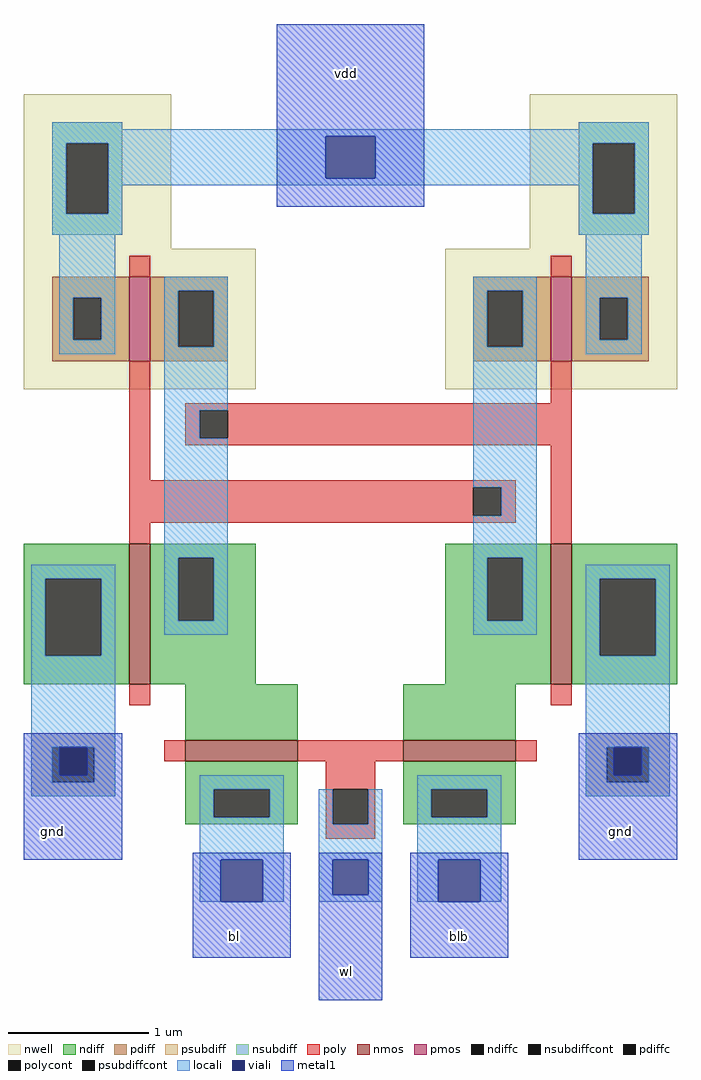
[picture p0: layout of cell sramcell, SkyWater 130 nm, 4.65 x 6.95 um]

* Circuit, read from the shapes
.subckt sramcell bl blb gnd vdd wl
XM1 n1 n2 gnd gnd sky130_fd_pr__nfet_01v8 w=1 l=0.15
XM2 n1 wl bl gnd sky130_fd_pr__nfet_01v8 w=0.8 l=0.15
XM3 n2 wl blb gnd sky130_fd_pr__nfet_01v8 w=0.8 l=0.15
XM4 gnd n1 n2 gnd sky130_fd_pr__nfet_01v8 w=1 l=0.15
XM5 n1 n2 vdd vdd sky130_fd_pr__pfet_01v8 w=0.6 l=0.15
XM6 vdd n1 n2 vdd sky130_fd_pr__pfet_01v8 w=0.6 l=0.15
.ends

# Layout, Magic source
magic
tech sky130A
<< nwell >>
rect -35 200 70 310
rect 325 200 430 310
rect -35 100 130 200
rect 265 100 430 200
<< nmos >>
rect 40 -110 55 -10
rect 340 -110 355 -10
rect 80 -165 160 -150
rect 235 -165 315 -150
<< pmos >>
rect 40 120 55 180
rect 340 120 355 180
<< ndiff >>
rect -35 -35 40 -10
rect -35 -90 -20 -35
rect 20 -90 40 -35
rect -35 -110 40 -90
rect 55 -20 130 -10
rect 55 -65 75 -20
rect 100 -65 130 -20
rect 55 -110 130 -65
rect 265 -20 340 -10
rect 265 -65 295 -20
rect 320 -65 340 -20
rect 265 -110 340 -65
rect 355 -35 430 -10
rect 355 -90 375 -35
rect 415 -90 430 -35
rect 355 -110 430 -90
rect 80 -150 160 -110
rect 235 -150 315 -110
rect 80 -185 160 -165
rect 80 -205 100 -185
rect 140 -205 160 -185
rect 80 -210 160 -205
rect 235 -185 315 -165
rect 235 -205 255 -185
rect 295 -205 315 -185
rect 235 -210 315 -205
<< pdiff >>
rect -15 165 40 180
rect -15 135 0 165
rect 20 135 40 165
rect -15 120 40 135
rect 55 170 110 180
rect 55 130 75 170
rect 100 130 110 170
rect 55 120 110 130
rect 285 170 340 180
rect 285 130 295 170
rect 320 130 340 170
rect 285 120 340 130
rect 355 165 410 180
rect 355 135 375 165
rect 395 135 410 165
rect 355 120 410 135
<< ndiffc >>
rect -20 -90 20 -35
rect 75 -65 100 -20
rect 295 -65 320 -20
rect 375 -90 415 -35
rect 100 -205 140 -185
rect 255 -205 295 -185
<< pdiffc >>
rect 0 135 20 165
rect 75 130 100 170
rect 295 130 320 170
rect 375 135 395 165
<< psubdiff >>
rect -30 -155 30 -145
rect -30 -180 -15 -155
rect 15 -180 30 -155
rect 365 -155 425 -145
rect -30 -190 30 -180
rect 365 -180 380 -155
rect 410 -180 425 -155
rect 365 -190 425 -180
<< nsubdiff >>
rect -15 275 35 290
rect -15 225 -5 275
rect 25 225 35 275
rect -15 210 35 225
rect 360 275 410 290
rect 360 225 370 275
rect 400 225 410 275
rect 360 210 410 225
<< psubdiffcont >>
rect -15 -180 15 -155
rect 380 -180 410 -155
<< nsubdiffcont >>
rect -5 225 25 275
rect 370 225 400 275
<< poly >>
rect 40 180 55 195
rect 340 180 355 195
rect 40 35 55 120
rect 340 90 355 120
rect 80 85 355 90
rect 80 65 90 85
rect 110 65 355 85
rect 80 60 355 65
rect 40 30 315 35
rect 40 10 285 30
rect 305 10 315 30
rect 40 5 315 10
rect 40 -10 55 5
rect 340 -10 355 60
rect 40 -125 55 -110
rect 340 -125 355 -110
rect 65 -165 80 -150
rect 160 -165 235 -150
rect 315 -165 330 -150
rect 180 -185 215 -165
rect 180 -210 185 -185
rect 210 -210 215 -185
rect 180 -220 215 -210
<< polycont >>
rect 90 65 110 85
rect 285 10 305 30
rect 185 -210 210 -185
<< locali >>
rect -15 285 35 290
rect 360 285 410 290
rect -15 280 410 285
rect -15 275 180 280
rect -15 225 -5 275
rect 25 250 180 275
rect 215 275 410 280
rect 215 250 370 275
rect 25 245 370 250
rect 25 225 35 245
rect -15 210 35 225
rect 360 225 370 245
rect 400 225 410 275
rect 360 210 410 225
rect -10 165 30 210
rect -10 135 0 165
rect 20 135 30 165
rect -10 125 30 135
rect 65 170 110 180
rect 65 130 75 170
rect 100 130 110 170
rect 65 85 110 130
rect 65 65 90 85
rect 65 -20 110 65
rect -30 -35 30 -25
rect -30 -90 -20 -35
rect 20 -90 30 -35
rect 65 -65 75 -20
rect 100 -65 110 -20
rect 65 -75 110 -65
rect 285 170 330 180
rect 285 130 295 170
rect 320 130 330 170
rect 285 30 330 130
rect 365 165 405 210
rect 365 135 375 165
rect 395 135 405 165
rect 365 125 405 135
rect 305 10 330 30
rect 285 -20 330 10
rect 285 -65 295 -20
rect 320 -65 330 -20
rect 285 -75 330 -65
rect 365 -35 425 -25
rect -30 -155 30 -90
rect -30 -180 -15 -155
rect 15 -180 30 -155
rect 365 -90 375 -35
rect 415 -90 425 -35
rect 365 -155 425 -90
rect -30 -190 30 -180
rect 90 -185 150 -175
rect 245 -185 305 -175
rect 90 -205 100 -185
rect 140 -205 150 -185
rect 90 -235 150 -205
rect 90 -265 105 -235
rect 135 -265 150 -235
rect 175 -210 185 -185
rect 210 -210 220 -185
rect 175 -235 220 -210
rect 175 -260 185 -235
rect 210 -260 220 -235
rect 175 -265 220 -260
rect 245 -205 255 -185
rect 295 -205 305 -185
rect 365 -180 380 -155
rect 410 -180 425 -155
rect 365 -190 425 -180
rect 245 -235 305 -205
rect 245 -265 260 -235
rect 290 -265 305 -235
<< viali >>
rect 180 250 215 280
rect -10 -175 10 -155
rect 105 -265 135 -235
rect 185 -260 210 -235
rect 385 -175 405 -155
rect 260 -265 290 -235
<< metal1 >>
rect 145 280 250 360
rect 145 250 180 280
rect 215 250 250 280
rect 145 230 250 250
rect -35 -155 35 -145
rect -35 -175 -10 -155
rect 10 -175 35 -155
rect -35 -235 35 -175
rect 360 -155 430 -145
rect 360 -175 385 -155
rect 405 -175 430 -155
rect 85 -235 155 -230
rect 85 -265 105 -235
rect 135 -265 155 -235
rect 85 -305 155 -265
rect 175 -235 220 -230
rect 175 -260 185 -235
rect 210 -260 220 -235
rect 175 -335 220 -260
rect 240 -235 310 -230
rect 360 -235 430 -175
rect 240 -265 260 -235
rect 290 -265 310 -235
rect 240 -305 310 -265
<< labels >>
rlabel metal1 195 325 195 325 1 vdd
rlabel metal1 390 -215 390 -215 1 gnd
rlabel metal1 -15 -215 -15 -215 1 gnd
rlabel metal1 195 -315 195 -315 1 wl
rlabel metal1 115 -290 115 -290 1 bl
rlabel metal1 275 -290 275 -290 1 blb
<< end >>
